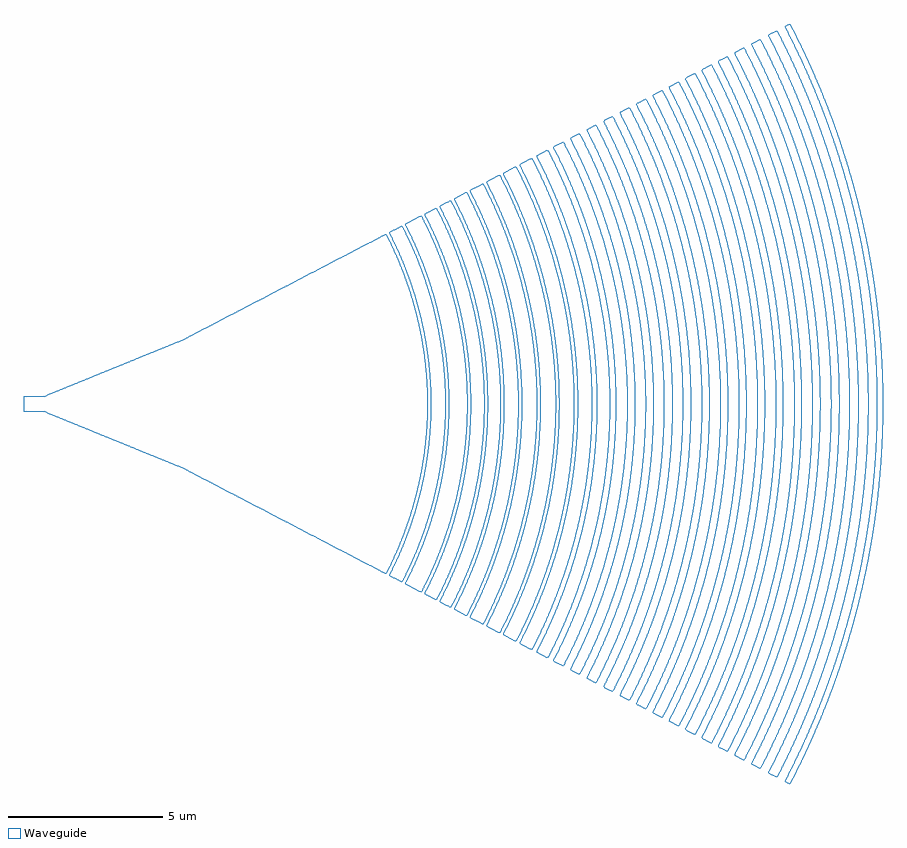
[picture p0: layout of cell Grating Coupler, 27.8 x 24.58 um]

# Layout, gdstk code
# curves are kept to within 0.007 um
import gdstk
lib = gdstk.Library(unit=1e-6, precision=1e-09)
def P(c, l, *ps):  # polygons
    for p in ps: c.add(gdstk.Polygon(p, *l))
Waveguide = (1, 0)

grating_coupler = lib.new_cell('Grating Coupler')
P(grating_coupler, Waveguide, [(23.611,-12.289),(23.645,-12.277),(23.659,-12.259),(23.752,-12.08),(24.229,-11.092),(24.558,-10.343),(24.883,-9.535),(25.188,-8.697),(25.425,-7.978),(25.673,-7.14),(25.877,-6.362),(26.088,-5.434),(26.211,-4.805),(26.36,-3.907),(26.453,-3.218),(26.539,-2.41),(26.6,-1.602),(26.634,-0.883),(26.645,-0.135),(26.634,0.883),(26.6,1.602),(26.539,2.41),(26.453,3.218),(26.36,3.907),(26.211,4.805),(26.088,5.434),(25.877,6.362),(25.673,7.14),(25.425,7.978),(25.188,8.697),(24.883,9.535),(24.558,10.343),(24.229,11.092),(23.752,12.08),(23.659,12.259),(23.615,12.29),(23.488,12.229),(23.468,12.199),(23.475,12.169),(23.863,11.391),(24.193,10.673),(24.461,10.044),(24.815,9.133),(25.084,8.367),(25.357,7.499),(25.567,6.751),(25.78,5.883),(25.928,5.194),(26.077,4.386),(26.195,3.615),(26.285,2.89),(26.347,2.26),(26.406,1.422),(26.436,0.674),(26.442,-0.165),(26.436,-0.674),(26.406,-1.422),(26.347,-2.26),(26.255,-3.15),(26.165,-3.825),(26.045,-4.571),(25.928,-5.194),(25.746,-6.032),(25.567,-6.751),(25.294,-7.709),(25.055,-8.453),(24.777,-9.236),(24.461,-10.044),(24.193,-10.673),(23.863,-11.391),(23.475,-12.169),(23.468,-12.199),(23.488,-12.229)],
  [(23.14,-12.05),(23.195,-12.071),(23.231,-12.05),(23.476,-11.571),(23.977,-10.493),(24.374,-9.535),(24.685,-8.697),(24.946,-7.918),(25.163,-7.2),(25.373,-6.421),(25.551,-5.673),(25.7,-4.955),(25.852,-4.086),(25.971,-3.248),(26.062,-2.41),(26.124,-1.602),(26.151,-1.093),(26.172,-0.165),(26.159,0.853),(26.124,1.602),(26.062,2.41),(25.996,3.039),(25.88,3.907),(25.761,4.625),(25.609,5.404),(25.403,6.302),(25.222,6.99),(24.984,7.799),(24.738,8.547),(24.409,9.445),(24.106,10.194),(23.72,11.062),(23.255,12.008),(23.231,12.05),(23.195,12.071),(22.955,11.953),(22.933,11.93),(22.933,11.9),(23.321,11.122),(23.65,10.403),(24.037,9.475),(24.308,8.757),(24.545,8.068),(24.788,7.29),(25.027,6.421),(25.234,5.553),(25.387,4.805),(25.508,4.116),(25.595,3.534),(25.686,2.799),(25.747,2.17),(25.806,1.302),(25.835,0.464),(25.838,-0.135),(25.815,-1.063),(25.777,-1.781),(25.717,-2.5),(25.655,-3.069),(25.568,-3.727),(25.447,-4.476),(25.325,-5.121),(25.18,-5.793),(24.996,-6.541),(24.788,-7.29),(24.515,-8.159),(24.245,-8.929),(23.941,-9.715),(23.65,-10.403),(23.321,-11.122),(22.933,-11.9),(22.933,-11.93),(22.955,-11.953)],
  [(22.623,-11.78),(22.655,-11.792),(22.685,-11.78),(22.706,-11.75),(23.079,-11.002),(23.447,-10.194),(23.806,-9.325),(24.075,-8.607),(24.349,-7.799),(24.559,-7.11),(24.771,-6.332),(24.957,-5.553),(25.101,-4.865),(25.249,-4.027),(25.372,-3.158),(25.465,-2.29),(25.525,-1.482),(25.556,-0.793),(25.565,-0.135),(25.556,0.793),(25.525,1.482),(25.465,2.29),(25.401,2.919),(25.281,3.817),(25.157,4.565),(25.009,5.314),(24.831,6.092),(24.619,6.9),(24.415,7.589),(24.17,8.337),(23.864,9.176),(23.512,10.044),(23.233,10.673),(22.784,11.601),(22.706,11.75),(22.685,11.78),(22.655,11.792),(22.415,11.672),(22.383,11.63),(22.391,11.601),(22.721,10.942),(23.066,10.194),(23.407,9.385),(23.704,8.607),(23.943,7.918),(24.187,7.14),(24.457,6.152),(24.633,5.404),(24.757,4.805),(24.905,3.967),(24.995,3.354),(25.086,2.59),(25.145,1.934),(25.205,0.883),(25.217,-0.135),(25.206,-0.853),(25.176,-1.482),(25.115,-2.291),(25.057,-2.859),(24.965,-3.57),(24.876,-4.146),(24.757,-4.805),(24.633,-5.404),(24.457,-6.152),(24.187,-7.14),(23.943,-7.918),(23.704,-8.607),(23.407,-9.385),(23.066,-10.194),(22.721,-10.942),(22.391,-11.601),(22.383,-11.63),(22.415,-11.672)],
  [(22.105,-11.511),(22.145,-11.519),(22.175,-11.485),(22.492,-10.852),(22.838,-10.104),(23.238,-9.146),(23.476,-8.517),(23.754,-7.709),(24.018,-6.841),(24.204,-6.152),(24.382,-5.404),(24.536,-4.655),(24.652,-3.997),(24.773,-3.158),(24.863,-2.35),(24.926,-1.542),(24.953,-1.033),(24.973,-0.135),(24.959,0.853),(24.926,1.542),(24.887,2.081),(24.806,2.889),(24.712,3.607),(24.591,4.356),(24.44,5.134),(24.285,5.823),(24.11,6.511),(23.904,7.23),(23.634,8.068),(23.388,8.757),(23.081,9.535),(22.775,10.244),(22.36,11.122),(22.175,11.485),(22.145,11.519),(22.115,11.516),(21.875,11.391),(21.836,11.361),(21.836,11.331),(22.237,10.523),(22.602,9.715),(22.925,8.925),(23.199,8.188),(23.497,7.29),(23.708,6.571),(23.946,5.643),(24.098,4.955),(24.245,4.176),(24.335,3.614),(24.425,2.949),(24.487,2.38),(24.545,1.678),(24.576,1.153),(24.599,0.344),(24.601,-0.195),(24.576,-1.153),(24.517,-2.051),(24.456,-2.679),(24.395,-3.188),(24.275,-3.997),(24.155,-4.666),(24.008,-5.374),(23.828,-6.122),(23.561,-7.08),(23.315,-7.85),(23.08,-8.517),(22.814,-9.206),(22.484,-9.984),(22.18,-10.643),(21.836,-11.331),(21.845,-11.371)],
  [(21.53,-11.211),(21.605,-11.239),(21.635,-11.212),(21.728,-11.032),(22.161,-10.134),(22.611,-9.086),(22.941,-8.218),(23.176,-7.529),(23.449,-6.631),(23.625,-5.972),(23.815,-5.164),(23.96,-4.446),(24.082,-3.727),(24.171,-3.098),(24.261,-2.29),(24.322,-1.512),(24.357,-0.763),(24.366,-0.105),(24.357,0.763),(24.322,1.512),(24.261,2.29),(24.204,2.829),(24.109,3.548),(23.987,4.296),(23.872,4.895),(23.692,5.703),(23.515,6.392),(23.299,7.14),(23.117,7.709),(22.82,8.547),(22.55,9.236),(22.161,10.134),(21.728,11.032),(21.635,11.212),(21.605,11.239),(21.575,11.234),(21.335,11.11),(21.314,11.092),(21.304,11.062),(21.728,10.194),(21.999,9.595),(22.322,8.816),(22.595,8.091),(22.838,7.379),(23.109,6.481),(23.313,5.703),(23.495,4.9),(23.705,3.757),(23.795,3.136),(23.886,2.35),(23.944,1.661),(23.975,1.126),(23.997,0.374),(24,-0.135),(23.979,-1.033),(23.946,-1.632),(23.855,-2.643),(23.768,-3.338),(23.676,-3.937),(23.557,-4.595),(23.405,-5.314),(23.23,-6.032),(23.049,-6.691),(22.838,-7.379),(22.571,-8.158),(22.295,-8.884),(21.999,-9.595),(21.728,-10.194),(21.304,-11.062),(21.314,-11.092),(21.335,-11.11)],
  [(21.013,-10.942),(21.065,-10.969),(21.095,-10.969),(21.12,-10.942),(21.215,-10.757),(21.699,-9.744),(22.128,-8.727),(22.398,-8.008),(22.671,-7.2),(22.912,-6.392),(23.063,-5.823),(23.213,-5.194),(23.362,-4.476),(23.479,-3.817),(23.6,-2.979),(23.691,-2.14),(23.75,-1.332),(23.78,-0.614),(23.787,-0.045),(23.78,0.614),(23.75,1.332),(23.691,2.14),(23.629,2.739),(23.539,3.428),(23.423,4.146),(23.272,4.925),(23.115,5.613),(22.937,6.302),(22.727,7.02),(22.493,7.739),(22.255,8.397),(21.983,9.086),(21.672,9.804),(21.347,10.493),(21.136,10.912),(21.095,10.969),(21.065,10.969),(20.795,10.826),(20.773,10.792),(20.779,10.762),(21.136,10.044),(21.485,9.273),(21.761,8.607),(22.063,7.799),(22.295,7.11),(22.537,6.302),(22.748,5.493),(22.897,4.835),(23.015,4.236),(23.136,3.518),(23.227,2.859),(23.284,2.35),(23.345,1.635),(23.376,1.123),(23.398,0.374),(23.401,-0.165),(23.376,-1.123),(23.315,-2.021),(23.255,-2.619),(23.167,-3.308),(23.075,-3.896),(22.958,-4.535),(22.838,-5.104),(22.658,-5.853),(22.451,-6.601),(22.237,-7.29),(21.995,-7.989),(21.701,-8.757),(21.397,-9.475),(21.136,-10.044),(20.779,-10.762),(20.773,-10.792),(20.795,-10.826)],
  [(20.495,-10.673),(20.555,-10.693),(20.583,-10.673),(20.649,-10.553),(21.111,-9.595),(21.472,-8.757),(21.828,-7.829),(22.043,-7.2),(22.256,-6.511),(22.462,-5.763),(22.641,-5.014),(22.794,-4.266),(22.912,-3.577),(23.005,-2.919),(23.091,-2.14),(23.15,-1.362),(23.178,-0.763),(23.189,-0.075),(23.183,0.584),(23.15,1.362),(23.091,2.14),(23.031,2.709),(22.912,3.577),(22.794,4.266),(22.667,4.895),(22.522,5.523),(22.342,6.212),(22.157,6.841),(21.943,7.499),(21.707,8.158),(21.398,8.936),(21.111,9.595),(20.649,10.553),(20.583,10.673),(20.555,10.693),(20.525,10.688),(20.269,10.553),(20.244,10.523),(20.25,10.493),(20.593,9.804),(20.946,9.026),(21.253,8.278),(21.519,7.559),(21.758,6.841),(21.996,6.032),(22.202,5.224),(22.359,4.506),(22.477,3.877),(22.568,3.308),(22.658,2.619),(22.717,2.051),(22.775,1.246),(22.789,0.913),(22.806,0.434),(22.808,-0.225),(22.775,-1.246),(22.717,-2.051),(22.658,-2.619),(22.568,-3.308),(22.477,-3.877),(22.264,-4.955),(22.084,-5.703),(21.903,-6.362),(21.701,-7.02),(21.455,-7.739),(21.218,-8.367),(20.894,-9.146),(20.593,-9.804),(20.25,-10.493),(20.244,-10.523),(20.269,-10.553)],
  [(19.978,-10.403),(20.015,-10.419),(20.051,-10.403),(20.238,-10.044),(20.633,-9.206),(20.963,-8.427),(21.259,-7.649),(21.475,-7.02),(21.714,-6.242),(21.893,-5.583),(22.044,-4.955),(22.193,-4.236),(22.309,-3.577),(22.401,-2.949),(22.495,-2.111),(22.545,-1.482),(22.577,-0.883),(22.592,-0.165),(22.585,0.644),(22.553,1.362),(22.495,2.111),(22.431,2.709),(22.337,3.398),(22.221,4.086),(22.103,4.685),(21.953,5.344),(21.74,6.152),(21.533,6.841),(21.323,7.469),(21.081,8.128),(20.751,8.936),(20.465,9.572),(20.075,10.365),(20.045,10.41),(20.015,10.419),(19.745,10.282),(19.716,10.253),(19.718,10.223),(20.117,9.415),(20.438,8.697),(20.706,8.038),(20.95,7.379),(21.161,6.751),(21.427,5.853),(21.603,5.164),(21.755,4.481),(21.875,3.854),(21.969,3.278),(22.055,2.637),(22.115,2.081),(22.175,1.29),(22.2,0.733),(22.211,-0.165),(22.206,-0.584),(22.175,-1.29),(22.085,-2.373),(21.937,-3.488),(21.816,-4.176),(21.699,-4.745),(21.514,-5.523),(21.334,-6.182),(21.132,-6.841),(20.918,-7.469),(20.647,-8.188),(20.345,-8.911),(20.003,-9.655),(19.718,-10.223),(19.716,-10.253),(19.745,-10.282)],
  [(19.46,-10.134),(19.505,-10.143),(19.537,-10.104),(19.792,-9.595),(20.177,-8.757),(20.45,-8.098),(20.688,-7.469),(20.875,-6.93),(21.109,-6.182),(21.291,-5.523),(21.444,-4.895),(21.59,-4.206),(21.683,-3.697),(21.805,-2.889),(21.894,-2.111),(21.948,-1.452),(21.98,-0.853),(21.993,-0.225),(21.98,0.853),(21.921,1.811),(21.86,2.44),(21.768,3.158),(21.683,3.697),(21.56,4.356),(21.381,5.164),(21.227,5.763),(21.019,6.481),(20.845,7.02),(20.6,7.709),(20.378,8.278),(20.058,9.026),(19.719,9.744),(19.537,10.104),(19.505,10.143),(19.475,10.142),(19.235,10.017),(19.19,9.984),(19.189,9.954),(19.505,9.318),(19.777,8.727),(20.079,8.008),(20.351,7.29),(20.613,6.511),(20.825,5.797),(21.035,4.984),(21.185,4.301),(21.368,3.278),(21.455,2.649),(21.515,2.111),(21.575,1.363),(21.605,0.772),(21.616,-0.075),(21.605,-0.772),(21.577,-1.332),(21.483,-2.41),(21.424,-2.889),(21.335,-3.483),(21.245,-3.997),(21.125,-4.586),(20.945,-5.348),(20.767,-6.002),(20.585,-6.599),(20.351,-7.29),(20.079,-8.008),(19.777,-8.727),(19.505,-9.318),(19.189,-9.954),(19.19,-9.984),(19.205,-9.999)],
  [(18.953,-9.864),(18.97,-9.864),(19.002,-9.834),(19.329,-9.176),(19.641,-8.487),(19.936,-7.769),(20.127,-7.26),(20.333,-6.661),(20.511,-6.092),(20.719,-5.344),(20.871,-4.715),(20.991,-4.146),(21.111,-3.488),(21.205,-2.859),(21.292,-2.111),(21.35,-1.422),(21.383,-0.793),(21.394,-0.165),(21.39,0.524),(21.375,0.973),(21.325,1.751),(21.261,2.41),(21.167,3.128),(21.048,3.847),(20.93,4.446),(20.779,5.104),(20.631,5.673),(20.419,6.392),(20.212,7.02),(19.971,7.679),(19.73,8.278),(19.427,8.966),(19.064,9.715),(19.002,9.834),(18.965,9.867),(18.695,9.735),(18.668,9.715),(18.657,9.685),(18.98,9.026),(19.331,8.248),(19.599,7.589),(19.842,6.93),(20.106,6.122),(20.287,5.493),(20.468,4.775),(20.617,4.086),(20.797,3.039),(20.918,2.051),(20.975,1.348),(21.004,0.793),(21.016,-0.135),(21.005,-0.77),(20.976,-1.332),(20.885,-2.36),(20.827,-2.829),(20.735,-3.435),(20.555,-4.386),(20.405,-5.036),(20.229,-5.703),(20.015,-6.412),(19.778,-7.11),(19.535,-7.752),(19.235,-8.469),(18.98,-9.026),(18.657,-9.685),(18.668,-9.715),(18.695,-9.735)],
  [(18.367,-9.565),(18.425,-9.586),(18.455,-9.569),(18.523,-9.445),(18.886,-8.697),(19.274,-7.799),(19.495,-7.23),(19.727,-6.571),(19.943,-5.883),(20.149,-5.134),(20.299,-4.506),(20.422,-3.907),(20.542,-3.218),(20.631,-2.59),(20.697,-1.991),(20.754,-1.272),(20.781,-0.704),(20.791,-0.165),(20.776,0.853),(20.724,1.691),(20.663,2.32),(20.574,3.009),(20.483,3.577),(20.363,4.206),(20.208,4.895),(20.062,5.463),(19.88,6.092),(19.666,6.751),(19.461,7.32),(19.163,8.068),(18.886,8.697),(18.492,9.505),(18.455,9.569),(18.425,9.586),(18.155,9.454),(18.126,9.415),(18.461,8.727),(18.758,8.068),(19.028,7.409),(19.24,6.841),(19.452,6.212),(19.659,5.523),(19.81,4.955),(19.989,4.176),(20.105,3.574),(20.198,3.009),(20.315,2.072),(20.375,1.366),(20.405,0.823),(20.418,-0.165),(20.405,-0.823),(20.375,-1.366),(20.285,-2.35),(20.136,-3.398),(19.957,-4.326),(19.81,-4.955),(19.659,-5.523),(19.452,-6.212),(19.208,-6.93),(18.969,-7.559),(18.693,-8.218),(18.461,-8.727),(18.135,-9.385),(18.126,-9.415),(18.143,-9.445)],
  [(17.85,-9.295),(17.885,-9.304),(17.925,-9.265),(18.165,-8.786),(18.469,-8.128),(18.804,-7.32),(19.037,-6.691),(19.218,-6.152),(19.433,-5.434),(19.576,-4.895),(19.729,-4.236),(19.854,-3.607),(19.94,-3.098),(20.031,-2.44),(20.092,-1.871),(20.146,-1.153),(20.179,-0.135),(20.172,0.524),(20.146,1.153),(20.092,1.871),(20.031,2.44),(19.94,3.098),(19.854,3.607),(19.761,4.086),(19.613,4.745),(19.491,5.224),(19.284,5.942),(19.099,6.511),(18.862,7.17),(18.623,7.769),(18.348,8.397),(17.956,9.206),(17.915,9.28),(17.885,9.304),(17.855,9.298),(17.625,9.176),(17.599,9.146),(17.604,9.116),(17.888,8.547),(18.188,7.888),(18.46,7.23),(18.695,6.597),(18.905,5.969),(19.083,5.374),(19.264,4.685),(19.415,4.013),(19.596,3.009),(19.717,2.081),(19.775,1.422),(19.806,0.913),(19.824,-0.075),(19.806,-0.913),(19.775,-1.422),(19.717,-2.081),(19.656,-2.59),(19.568,-3.188),(19.387,-4.146),(19.264,-4.685),(19.083,-5.374),(18.875,-6.063),(18.64,-6.751),(18.46,-7.23),(18.162,-7.948),(17.888,-8.547),(17.604,-9.116),(17.599,-9.146),(17.625,-9.176)],
  [(17.275,-8.996),(17.345,-9.024),(17.38,-8.996),(17.803,-8.128),(18.138,-7.35),(18.325,-6.871),(18.559,-6.212),(18.775,-5.523),(18.949,-4.895),(19.073,-4.386),(19.195,-3.817),(19.314,-3.158),(19.403,-2.56),(19.457,-2.111),(19.517,-1.452),(19.553,-0.853),(19.57,-0.075),(19.547,0.973),(19.49,1.781),(19.433,2.32),(19.343,2.979),(19.247,3.548),(19.133,4.116),(19.009,4.655),(18.861,5.224),(18.675,5.853),(18.559,6.212),(18.325,6.871),(18.052,7.559),(17.803,8.128),(17.442,8.876),(17.38,8.996),(17.345,9.024),(17.315,9.017),(17.075,8.89),(17.061,8.876),(17.056,8.846),(17.38,8.188),(17.65,7.589),(17.915,6.939),(18.128,6.362),(18.365,5.643),(18.545,5.019),(18.691,4.446),(18.848,3.727),(18.935,3.254),(19.025,2.679),(19.087,2.2),(19.144,1.632),(19.205,0.59),(19.211,-0.225),(19.177,-1.183),(19.087,-2.2),(18.966,-3.069),(18.786,-4.027),(18.61,-4.775),(18.454,-5.344),(18.28,-5.913),(18.095,-6.455),(17.86,-7.08),(17.65,-7.589),(17.38,-8.188),(17.056,-8.846),(17.061,-8.876),(17.075,-8.89)],
  [(16.758,-8.727),(16.805,-8.747),(16.835,-8.74),(16.865,-8.696),(17.244,-7.918),(17.544,-7.23),(17.779,-6.631),(17.961,-6.122),(18.199,-5.374),(18.357,-4.805),(18.503,-4.206),(18.647,-3.518),(18.745,-2.949),(18.83,-2.35),(18.892,-1.781),(18.946,-1.063),(18.975,-0.165),(18.973,0.314),(18.951,0.973),(18.918,1.482),(18.858,2.111),(18.768,2.799),(18.68,3.338),(18.563,3.937),(18.44,4.476),(18.293,5.044),(18.079,5.763),(17.93,6.212),(17.688,6.871),(17.456,7.439),(17.146,8.128),(16.865,8.696),(16.835,8.74),(16.805,8.747),(16.565,8.626),(16.539,8.607),(16.526,8.577),(16.895,7.812),(17.14,7.26),(17.375,6.677),(17.589,6.092),(17.765,5.557),(17.951,4.925),(18.098,4.356),(18.245,3.689),(18.335,3.213),(18.425,2.65),(18.488,2.17),(18.545,1.614),(18.605,0.644),(18.613,-0.165),(18.605,-0.644),(18.576,-1.212),(18.488,-2.17),(18.365,-3.039),(18.187,-3.967),(18.035,-4.607),(17.892,-5.134),(17.68,-5.823),(17.493,-6.362),(17.255,-6.981),(17.045,-7.479),(16.803,-8.008),(16.535,-8.547),(16.526,-8.577),(16.539,-8.607)],
  [(16.24,-8.457),(16.295,-8.475),(16.338,-8.427),(16.703,-7.679),(17.051,-6.871),(17.236,-6.392),(17.447,-5.793),(17.661,-5.104),(17.808,-4.565),(17.964,-3.907),(18.05,-3.488),(18.141,-2.979),(18.233,-2.35),(18.297,-1.781),(18.346,-1.183),(18.375,-0.584),(18.384,-0.105),(18.378,0.494),(18.35,1.123),(18.259,2.14),(18.174,2.769),(18.078,3.338),(17.964,3.907),(17.838,4.446),(17.695,4.984),(17.534,5.523),(17.203,6.481),(16.94,7.14),(16.703,7.679),(16.338,8.427),(16.295,8.475),(16.265,8.47),(16.025,8.346),(15.977,8.307),(15.979,8.278),(16.261,7.709),(16.506,7.17),(16.775,6.515),(17.018,5.853),(17.166,5.404),(17.375,4.687),(17.525,4.091),(17.673,3.398),(17.822,2.5),(17.915,1.715),(17.976,0.883),(17.995,-0.075),(17.976,-0.883),(17.943,-1.392),(17.885,-2.002),(17.768,-2.859),(17.619,-3.667),(17.498,-4.206),(17.318,-4.895),(17.166,-5.404),(16.955,-6.032),(16.718,-6.661),(16.48,-7.23),(16.218,-7.799),(15.979,-8.278),(15.977,-8.307),(15.995,-8.327)],
  [(15.722,-8.188),(15.785,-8.214),(15.823,-8.188),(16.161,-7.499),(16.463,-6.811),(16.642,-6.362),(16.879,-5.703),(17.061,-5.134),(17.214,-4.595),(17.39,-3.877),(17.478,-3.458),(17.576,-2.919),(17.657,-2.38),(17.715,-1.901),(17.773,-1.242),(17.808,-0.584),(17.816,-0.165),(17.812,0.434),(17.785,1.063),(17.75,1.542),(17.695,2.081),(17.632,2.56),(17.54,3.128),(17.416,3.757),(17.298,4.266),(17.148,4.835),(16.996,5.344),(16.817,5.883),(16.642,6.362),(16.362,7.05),(16.161,7.499),(15.823,8.188),(15.785,8.214),(15.485,8.064),(15.446,8.038),(15.435,8.008),(15.877,7.08),(16.085,6.594),(16.271,6.122),(16.443,5.643),(16.6,5.164),(16.75,4.655),(16.898,4.086),(17.013,3.577),(17.107,3.098),(17.196,2.56),(17.257,2.111),(17.347,1.153),(17.377,0.554),(17.383,-0.195),(17.375,-0.623),(17.347,-1.153),(17.285,-1.863),(17.168,-2.739),(17.013,-3.577),(16.898,-4.086),(16.716,-4.775),(16.562,-5.284),(16.359,-5.883),(16.202,-6.302),(15.969,-6.871),(15.754,-7.35),(15.435,-8.008),(15.455,-8.046)],
  [(15.205,-7.918),(15.275,-7.946),(15.311,-7.918),(15.676,-7.17),(15.924,-6.601),(16.091,-6.182),(16.309,-5.583),(16.465,-5.104),(16.671,-4.386),(16.79,-3.907),(16.912,-3.338),(17.029,-2.679),(17.085,-2.29),(17.18,-1.422),(17.217,-0.853),(17.238,-0.165),(17.235,0.344),(17.211,0.973),(17.18,1.422),(17.123,1.991),(17.056,2.5),(16.968,3.039),(16.882,3.488),(16.761,4.027),(16.639,4.506),(16.465,5.104),(16.309,5.583),(16.091,6.182),(15.861,6.751),(15.676,7.17),(15.373,7.799),(15.311,7.918),(15.275,7.946),(15.245,7.939),(14.917,7.769),(14.885,7.739),(14.886,7.709),(15.125,7.23),(15.345,6.751),(15.547,6.272),(15.732,5.793),(16.025,4.925),(16.148,4.506),(16.296,3.937),(16.417,3.398),(16.509,2.919),(16.595,2.382),(16.654,1.931),(16.715,1.302),(16.746,0.823),(16.763,-0.135),(16.746,-0.823),(16.715,-1.302),(16.628,-2.14),(16.564,-2.59),(16.475,-3.104),(16.267,-4.056),(16.025,-4.925),(15.88,-5.374),(15.687,-5.913),(15.515,-6.35),(15.305,-6.841),(15.125,-7.23),(14.886,-7.709),(14.885,-7.739),(14.917,-7.769)],
  [(14.687,-7.649),(14.765,-7.678),(14.797,-7.649),(15.106,-7.02),(15.407,-6.332),(15.618,-5.793),(15.837,-5.164),(15.95,-4.805),(16.134,-4.146),(16.256,-3.637),(16.373,-3.069),(16.524,-2.111),(16.616,-1.183),(16.644,-0.704),(16.655,-0.165),(16.644,0.704),(16.612,1.242),(16.553,1.871),(16.487,2.38),(16.4,2.919),(16.308,3.398),(16.186,3.937),(16.037,4.506),(15.913,4.925),(15.767,5.374),(15.562,5.942),(15.345,6.481),(15.106,7.02),(14.813,7.619),(14.765,7.678),(14.735,7.673),(14.375,7.486),(14.358,7.469),(14.351,7.439),(14.792,6.511),(14.982,6.062),(15.156,5.613),(15.459,4.715),(15.698,3.847),(15.814,3.338),(15.908,2.859),(15.995,2.322),(16.055,1.863),(16.115,1.245),(16.144,0.793),(16.161,-0.015),(16.144,-0.793),(16.115,-1.245),(16.055,-1.863),(15.995,-2.322),(15.908,-2.859),(15.814,-3.338),(15.698,-3.847),(15.459,-4.715),(15.156,-5.613),(14.982,-6.062),(14.792,-6.511),(14.351,-7.439),(14.358,-7.469),(14.375,-7.486)],
  [(14.17,-7.379),(14.225,-7.403),(14.255,-7.394),(14.285,-7.35),(14.592,-6.721),(14.841,-6.152),(15.019,-5.703),(15.203,-5.194),(15.412,-4.535),(15.561,-3.997),(15.77,-3.069),(15.861,-2.56),(15.923,-2.14),(15.983,-1.632),(16.032,-1.033),(16.066,-0.045),(16.042,0.883),(16.011,1.332),(15.953,1.901),(15.893,2.35),(15.804,2.889),(15.709,3.368),(15.591,3.877),(15.472,4.326),(15.321,4.835),(15.172,5.284),(14.996,5.763),(14.752,6.362),(14.536,6.841),(14.269,7.379),(14.225,7.403),(13.865,7.221),(13.832,7.2),(13.813,7.17),(13.819,7.14),(14.085,6.601),(14.261,6.212),(14.586,5.404),(14.861,4.595),(15.009,4.086),(15.125,3.633),(15.307,2.769),(15.395,2.23),(15.457,1.751),(15.516,1.123),(15.545,0.614),(15.554,-0.105),(15.545,-0.614),(15.516,-1.123),(15.428,-1.991),(15.368,-2.41),(15.279,-2.919),(15.095,-3.757),(14.861,-4.595),(14.586,-5.404),(14.261,-6.212),(14.085,-6.601),(13.819,-7.14),(13.813,-7.17),(13.832,-7.2),(13.865,-7.221)],
  [(13.652,-7.11),(13.685,-7.124),(13.715,-7.116),(13.756,-7.05),(14.088,-6.362),(14.319,-5.823),(14.57,-5.164),(14.692,-4.805),(14.814,-4.416),(14.964,-3.877),(15.08,-3.398),(15.174,-2.949),(15.26,-2.47),(15.325,-2.021),(15.411,-1.212),(15.444,-0.674),(15.455,-0.165),(15.452,0.404),(15.438,0.793),(15.411,1.212),(15.352,1.811),(15.292,2.26),(15.203,2.799),(15.024,3.637),(14.9,4.116),(14.75,4.625),(14.57,5.164),(14.391,5.643),(14.195,6.118),(13.963,6.631),(13.74,7.08),(13.715,7.116),(13.685,7.124),(13.325,6.94),(13.279,6.9),(13.282,6.871),(13.657,6.092),(13.99,5.284),(14.288,4.416),(14.435,3.907),(14.557,3.428),(14.735,2.555),(14.856,1.721),(14.915,1.098),(14.943,0.614),(14.953,-0.195),(14.946,-0.554),(14.915,-1.098),(14.826,-1.961),(14.702,-2.739),(14.528,-3.548),(14.288,-4.416),(13.99,-5.284),(13.657,-6.092),(13.282,-6.871),(13.279,-6.9),(13.325,-6.94)],
  [(13.135,-6.841),(13.182,-6.841),(13.28,-6.661),(13.577,-6.032),(13.816,-5.463),(14.119,-4.625),(14.267,-4.146),(14.39,-3.697),(14.511,-3.188),(14.603,-2.739),(14.689,-2.23),(14.754,-1.751),(14.808,-1.212),(14.838,-0.763),(14.855,-0.045),(14.838,0.763),(14.808,1.212),(14.754,1.751),(14.689,2.23),(14.603,2.739),(14.42,3.577),(14.301,4.027),(14.176,4.446),(14.059,4.805),(13.874,5.314),(13.668,5.823),(13.482,6.242),(13.28,6.661),(13.205,6.808),(13.175,6.846),(13.145,6.846),(12.815,6.674),(12.769,6.631),(12.774,6.601),(13.148,5.823),(13.477,5.014),(13.751,4.206),(13.987,3.338),(14.161,2.5),(14.285,1.653),(14.346,1.003),(14.376,0.404),(14.38,-0.045),(14.374,-0.464),(14.346,-1.003),(14.285,-1.653),(14.161,-2.5),(14.049,-3.069),(13.958,-3.458),(13.751,-4.206),(13.477,-5.014),(13.148,-5.823),(12.774,-6.601),(12.769,-6.631),(12.794,-6.661)],
  [(12.617,-6.571),(12.635,-6.581),(12.665,-6.581),(12.676,-6.571),(12.772,-6.392),(13.068,-5.763),(13.281,-5.254),(13.492,-4.685),(13.64,-4.236),(13.85,-3.488),(14.029,-2.679),(14.159,-1.871),(14.241,-1.093),(14.27,-0.614),(14.281,-0.135),(14.267,0.674),(14.236,1.153),(14.182,1.691),(14.057,2.53),(13.88,3.368),(13.64,4.236),(13.492,4.685),(13.339,5.104),(13.014,5.883),(12.802,6.332),(12.695,6.543),(12.665,6.581),(12.635,6.581),(12.33,6.421),(12.3,6.392),(12.303,6.362),(12.665,5.608),(12.969,4.865),(13.235,4.086),(13.355,3.675),(13.48,3.188),(13.655,2.327),(13.717,1.931),(13.775,1.461),(13.835,0.704),(13.85,-0.075),(13.835,-0.704),(13.807,-1.123),(13.745,-1.721),(13.625,-2.496),(13.445,-3.331),(13.235,-4.086),(12.969,-4.865),(12.665,-5.608),(12.303,-6.362),(12.3,-6.392),(12.33,-6.421)],
  [(12.16,-6.332),(12.185,-6.338),(12.215,-6.317),(12.317,-6.122),(12.557,-5.613),(12.796,-5.044),(12.954,-4.625),(13.096,-4.206),(13.249,-3.697),(13.344,-3.338),(13.526,-2.5),(13.643,-1.751),(13.727,-0.883),(13.755,-0.075),(13.731,0.823),(13.665,1.572),(13.606,2.021),(13.526,2.5),(13.344,3.338),(13.249,3.697),(13.096,4.206),(12.831,4.955),(12.623,5.463),(12.433,5.883),(12.226,6.302),(12.185,6.338),(11.855,6.174),(11.824,6.152),(11.813,6.122),(12.18,5.344),(12.46,4.655),(12.696,3.967),(12.844,3.458),(12.935,3.099),(13.087,2.38),(13.205,1.602),(13.27,0.913),(13.296,0.434),(13.301,-0.075),(13.295,-0.464),(13.27,-0.913),(13.205,-1.602),(13.087,-2.38),(12.906,-3.218),(12.696,-3.967),(12.46,-4.655),(12.18,-5.344),(11.813,-6.122),(11.824,-6.152),(11.855,-6.174)],
  [(11.64,-6.062),(11.705,-6.084),(11.735,-6.054),(11.975,-5.564),(12.191,-5.074),(12.346,-4.685),(12.497,-4.266),(12.651,-3.787),(12.8,-3.248),(12.978,-2.44),(13.101,-1.661),(13.163,-1.063),(13.193,-0.584),(13.203,-0.165),(13.193,0.584),(13.129,1.422),(13.011,2.26),(12.858,3.009),(12.651,3.787),(12.38,4.595),(12.191,5.074),(12.035,5.434),(11.807,5.913),(11.735,6.054),(11.705,6.084),(11.675,6.08),(11.237,5.853),(11.194,5.823),(11.187,5.793),(11.528,5.074),(11.796,4.416),(12.041,3.697),(12.246,2.949),(12.397,2.23),(12.516,1.422),(12.577,0.704),(12.594,-0.135),(12.577,-0.704),(12.516,-1.422),(12.397,-2.23),(12.246,-2.949),(12.041,-3.697),(11.796,-4.416),(11.528,-5.074),(11.187,-5.793),(11.194,-5.823),(11.225,-5.846)],
  [(11.007,-5.733),(11.075,-5.759),(11.107,-5.733),(11.271,-5.404),(11.514,-4.865),(11.813,-4.086),(12.054,-3.308),(12.229,-2.59),(12.321,-2.111),(12.377,-1.751),(12.435,-1.272),(12.469,-0.883),(12.5,-0.135),(12.498,0.254),(12.475,0.793),(12.412,1.482),(12.294,2.26),(12.14,2.979),(12.021,3.428),(11.903,3.817),(11.682,4.446),(11.383,5.164),(11.107,5.733),(11.075,5.759),(11.045,5.752),(10.715,5.581),(10.677,5.553),(10.671,5.523),(10.985,4.865),(11.255,4.202),(11.497,3.488),(11.677,2.829),(11.828,2.111),(11.887,1.751),(11.945,1.294),(11.976,0.973),(12.007,0.464),(12.013,-0.135),(12.007,-0.464),(11.976,-0.973),(11.916,-1.542),(11.828,-2.111),(11.677,-2.829),(11.497,-3.488),(11.255,-4.202),(10.985,-4.865),(10.671,-5.523),(10.677,-5.553),(10.715,-5.581)],
  [(-1.15,-0.251),(-0.475,-0.258),(3.965,-2.069),(10.445,-5.441),(10.535,-5.487),(10.565,-5.489),(10.595,-5.457),(10.727,-5.194),(10.985,-4.622),(11.207,-4.056),(11.359,-3.607),(11.509,-3.098),(11.634,-2.59),(11.746,-2.021),(11.811,-1.602),(11.874,-1.033),(11.903,-0.614),(11.916,-0.075),(11.907,0.524),(11.874,1.033),(11.811,1.602),(11.746,2.021),(11.634,2.59),(11.424,3.398),(11.301,3.787),(11.117,4.296),(10.933,4.745),(10.727,5.194),(10.595,5.457),(10.565,5.489),(10.535,5.487),(3.965,2.069),(-0.475,0.258),(-1.15,0.251)])

lib.write_gds('Grating_Coupler.gds')
